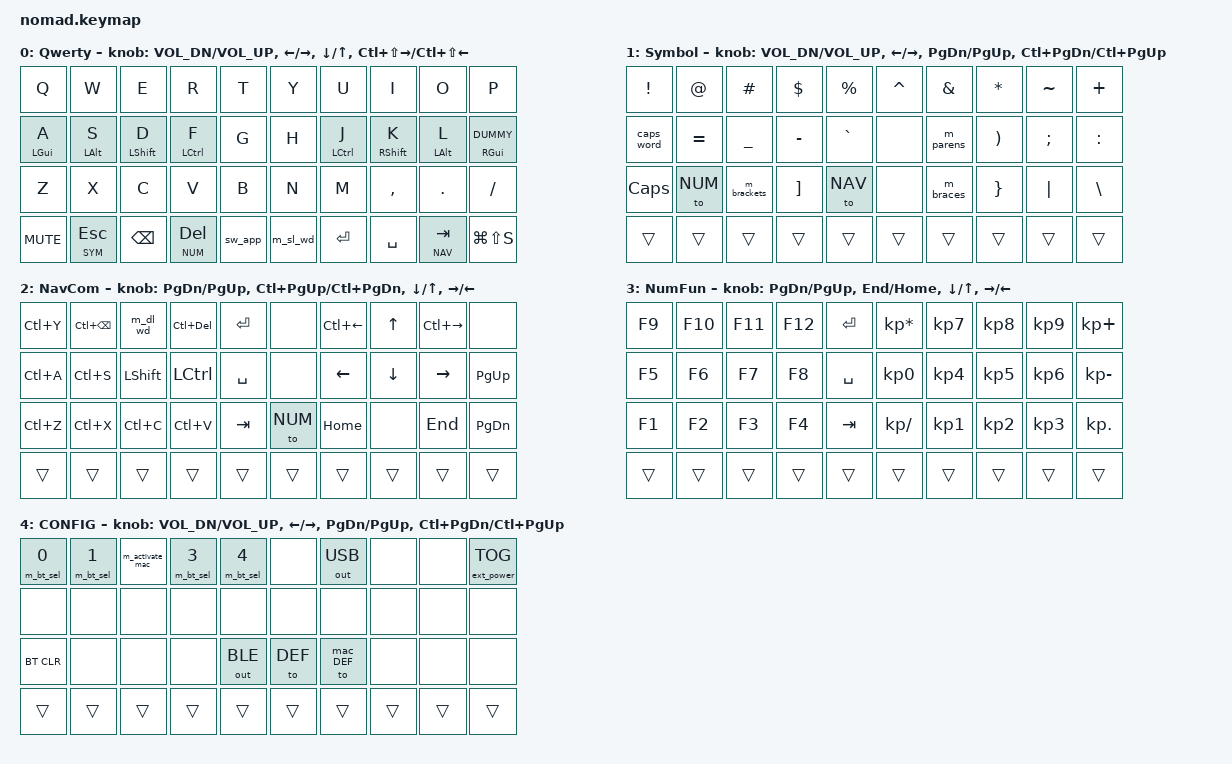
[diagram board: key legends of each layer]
/*
 * Copyright (c) 2020 The ZMK Contributors
 *
 * SPDX-License-Identifier: MIT
 */

#include <behaviors.dtsi>
#include <dt-bindings/zmk/keys.h>
#include <dt-bindings/zmk/bt.h>
#include <dt-bindings/zmk/outputs.h>
#include <dt-bindings/zmk/ext_power.h>

/* Uncomment to enable a custom macro layer
 * Needs the following additional files:
 * "custom_macros.dtsi" to define the macro behaviours
 * "custom_macros_keymap.dtsi" to bind them
 */
#define ENABLE_CUSTOM_MACROS

#define DEF         0   // The default QWERTY layer
#define SYM         1   // Layer for symbols
#define NAV         2   // Layer for navigation
#define mac_DEF     3   // The default macOS QWERTY layer
#define mac_SYM     4   // Layer for symbols
#define mac_NAV     5   // Layer for navigation
#define NUM         6   // Layer for numbers and function keys
#define CON         7   // Configuration layer

// Define only if custom macros are enabled
#ifdef ENABLE_CUSTOM_MACROS
  #define MACRO     8   // Custom macro layer
#endif

// defining a dummy key code for the double quotes macro
#define DUMMY   9


/*
 * Including macros and combos
 */
#include "macros.dtsi"
#include "combos.dtsi"
#include "macOS_combos.dtsi"


/*
 * Defining the CON layer to be activated only if the 
 * SYM and NAV layers are activated
 */
/ {
    conditional_layers {
        compatible = "zmk,conditional-layers";
        
        config_layer {
          if-layers = <SYM NAV>;
          then-layer = <CON>;
        };
        
        // Get to config layer from macOS layers
        macOS_config_layer {
          if-layers = <mac_SYM mac_NAV>;
          then-layer = <CON>;
        };  

// Define only if custom macros are enabled through config
#ifdef ENABLE_CUSTOM_MACROS
        custom_macro_layer {
          if-layers = <NUM NAV>;
          then-layer = <MACRO>;
        };
        
        // Get to macro layer from macOS layers
        macOS_custom_macro_layer {
          if-layers = <NUM mac_NAV>;
          then-layer = <MACRO>;
        };
#endif

    };
  };


/ {
    behaviors {
    
      // Home row mods behaviour for non-shift mods
      hm: homerow_mods {
        compatible = "zmk,behavior-hold-tap";
        label = "HOMEROW_MODS";
        #binding-cells = <2>;
        tapping-term-ms = <350>;
        quick-tap-ms = <125>;
        flavor = "tap-preferred";
        bindings = <&kp>, <&kp>;
      };
      
      /*
       * Special implementation for home row mod to
       * accomodate the double quotes macro. Calls the dqr
       * behavior when tapped, which in turn calls the
       * double quotes macro `m_dquotes` only if the shift
       * key was held.
       */
      dq_hm: double_quotes_balanced_homerow_mod {
        compatible = "zmk,behavior-hold-tap";
        label = "DQ_HOMEROW_MOD";
        #binding-cells = <2>;
        tapping-term-ms = <350>;
        quick-tap-ms = <125>;
        flavor = "tap-preferred";
        bindings = <&kp>, <&dqr>;
      };

    
      /* 
       * Home row mods behaviour for SHIFT keys with lower
       * tapping term
       */
      shm: shift_homerow_mods {
        compatible = "zmk,behavior-hold-tap";
        label = "SHIFT_HOMEROW_MODS";
        #binding-cells = <2>;
        tapping-term-ms = <200>;
        quick-tap-ms = <125>;
        flavor = "tap-preferred";
        bindings = <&kp>, <&kp>;
      };
      
      /*
       * Morphing behaviour for single quotes to call the  
       * double quotes macro when used with LSHFT or RSHFT
       */
      dqr: dquotes_resolve {
        compatible = "zmk,behavior-mod-morph";
        label = "DOUBLE_QUOTES_RESOLVE";
        #binding-cells = <0>;
        bindings = <&kp SQT>, <&m_dquotes>;
        mods = <(MOD_LSFT|MOD_RSFT)>;
      };
      
      /*
       * Morphing behaviour for entering or exiting the app-
       * switcher space, bound to the left thumb encoder
       * switch. Will open the app switcher space or close
       * it if already open, activating the highlighted
       * app - which can be selected using the scroll.
       */
      sw_app: switch_app {
        compatible = "zmk,behavior-mod-morph";
        label = "SWITCH_APP";
        #binding-cells = <0>;
        bindings
          = <&m_enter_app_switch>
          , <&m_exit_app_switch>
          ;
        mods = <(MOD_LALT)>;
      };
    };
    
    keymap {
      compatible = "zmk,keymap";

      default_layer {
        label = "Qwerty";
      // ------------------------------------------------------------------
      // |  Q  |  W  |  E  |  R  |  T  |   |  Y  |  U   |  I  |  O  |  P  |
      // |  A  |  S  |  D  |  F  |  G  |   |  H  |  J   |  K  |  L  |  '  |
      // |  Z  |  X  |  C  |  V  |  B  |   |  N  |  M   |  ,  |  .  |  /  |
      // | MUTE| ESC | BKSP| DEL |SWAPP|   |SLWRD| ENT  | SPC | TAB |PRSCR|
        bindings = <
          &kp Q         &kp W         &kp E           &kp R           &kp T         &kp Y       &kp U           &kp I           &kp O         &kp P
          &hm LGUI A    &hm LALT S    &shm LSHIFT D   &hm LCTRL F     &kp G         &kp H       &hm LCTRL J     &shm RSHIFT K   &hm LALT L    &dq_hm RGUI DUMMY
          &kp Z         &kp X         &kp C           &kp V           &kp B         &kp N       &kp M           &kp COMMA       &kp DOT       &kp FSLH
          &kp C_MUTE    &lt SYM ESC   &kp BSPC        &lt NUM DEL     &sw_app       &m_sl_wd    &kp RET         &kp SPACE       &lt NAV TAB   &kp LG(LS(S))
        >;
                        
        sensor-bindings = <&inc_dec_kp C_VOL_DN C_VOL_UP &inc_dec_kp LEFT RIGHT &inc_dec_kp DOWN UP &inc_dec_kp LC(LS(RIGHT)) LC(LS(LEFT))>; 
      };

      symbol_layer {
        label = "Symbol";
      // -----------------------------------------------------------------
      // |  !  |  @  |  #  |  $  |  %  |   |  ^  |  &  |  *  |  ~  |  +  |
      // |CWORD|  =  |  _  |  -  |  `  |   |     |  (  |  )  |  ;  |  :  |
      // | CAPS| NUM |  [  |  ]  | NAV |   |     |  {  |  }  |  |  |  \  |
      // |     |     |     |     |     |   |     |     |     |     |     |
        bindings = <
          &kp EXCL    &kp AT    &kp HASH    &kp DLLR    &kp PRCNT       &kp CARET   &kp AMPS    &kp STAR    &kp TILDE   &kp PLUS 
          &caps_word  &kp EQUAL &kp UNDER   &kp MINUS   &kp GRAVE       &none       &m_parens   &kp RPAR    &kp SEMI    &kp COLON
          &kp CAPS    &to NUM   &m_brackets &kp RBKT    &to NAV         &none       &m_braces   &kp RBRC    &kp PIPE    &kp BSLH
          &trans      &trans    &trans      &trans      &trans          &trans      &trans      &trans      &trans      &trans
        >;
                        
        sensor-bindings = <&inc_dec_kp C_VOL_DN C_VOL_UP &inc_dec_kp LEFT RIGHT &inc_dec_kp PG_DN PG_UP &inc_dec_kp LC(PG_DN) LC(PG_UP)>;
      };
                
      navigation_layer {
        label = "NavCom";
      // -----------------------------------------------------------------
      // | REDO| BSWd|DLCWd| DLWd| ENT |   |     | P.Wd|  UP | N.Wd|     |
      // | ALL |SAVE |LSHFT| CTRL| SPC |   |     | LFT | DWN | RGT |PG UP|
      // | UNDO| CUT | CPY | PST | TAB |   | NUM | HOME|     | END |PG DN|
      // |     |     |     |     |     |   |     |     |     |     |     |
        bindings = <
          &kp LC(Y)   &kp LC(BSPC)  &m_dl_wd    &kp LC(DEL)   &kp RET       &none     &kp LC(LEFT)    &kp UP      &kp LC(RIGHT)   &none
          &kp LC(A)   &kp LC(S)     &kp LSHIFT  &kp LCTRL     &kp SPACE     &none     &kp LEFT        &kp DOWN    &kp RIGHT       &kp PG_UP
          &kp LC(Z)   &kp LC(X)     &kp LC(C)   &kp LC(V)     &kp TAB       &to NUM   &kp HOME        &none       &kp END         &kp PG_DN
          &trans      &trans        &trans      &trans        &trans        &trans    &trans          &trans      &trans          &trans
        >;
                        
        sensor-bindings = <&inc_dec_kp PG_DN PG_UP &inc_dec_kp LC(PG_UP) LC(PG_DN) &inc_dec_kp DOWN UP &inc_dec_kp RIGHT LEFT>;
      };
      
      // Including the MacOS keymap
      #include "macOS_keymap.dtsi"
                
      numfun_layer {
        label = "NumFun";
      // -----------------------------------------------------------------
      // |  F9 | F10 | F11 | F12 | ENT |   |  *  |  7  |  8  |  9  |  +  |
      // |  F5 |  F6 |  F7 |  F8 | SPC |   |  0  |  4  |  5  |  6  |  -  |
      // |  F1 |  F2 |  F3 |  F4 | TAB |   |  /  |  1  |  2  |  3  |  .  |
      // |     |     |     |     |     |   |     |     |     |     |     |
        bindings = < 
          &kp F9    &kp F10   &kp F11   &kp F12   &kp RET           &kp KP_MULTIPLY   &kp KP_N7   &kp KP_N8   &kp KP_N9   &kp KP_PLUS
          &kp F5    &kp F6    &kp F7    &kp F8    &kp SPACE         &kp KP_N0         &kp KP_N4   &kp KP_N5   &kp KP_N6   &kp KP_MINUS
          &kp F1    &kp F2    &kp F3    &kp F4    &kp TAB           &kp KP_DIVIDE     &kp KP_N1   &kp KP_N2   &kp KP_N3   &kp KP_DOT
          &trans    &trans    &trans    &trans    &trans            &trans            &trans      &trans      &trans      &trans
        >;
                        
        sensor-bindings = <&inc_dec_kp PG_DN PG_UP &inc_dec_kp END HOME &inc_dec_kp DOWN UP &inc_dec_kp RIGHT LEFT>;
      };
                
      config_layer {
        label = "CONFIG";
      // -----------------------------------------------------------------
      // | BT1 | BT2 | BT3 | BT4 | BT5 |   |     |O USB|     |     |E.POW|
      // |     |     |     |     |     |   |     |     |     |     |     |
      // |BTCLR|     |     |     |O BLE|   | WIN | MAC |     |     |     |
      // |     |     |     |     |     |   |     |     |     |     |     |
        bindings = <
          &m_bt_sel 0     &m_bt_sel 1     &m_activate_mac   &m_bt_sel 3     &m_bt_sel 4       &none     &out OUT_USB  &none     &none     &ext_power EP_TOG
          &none           &none           &none             &none           &none             &none     &none         &none     &none     &none
          &bt BT_CLR      &none           &none             &none           &out OUT_BLE      &to DEF   &to mac_DEF   &none     &none     &none
          &trans          &trans          &trans            &trans          &trans            &trans    &trans        &trans    &trans    &trans
        >;
                        
        sensor-bindings = <&inc_dec_kp C_VOL_DN C_VOL_UP &inc_dec_kp LEFT RIGHT &inc_dec_kp PG_DN PG_UP &inc_dec_kp LC(PG_DN) LC(PG_UP)>;
      };
      
// Define only if custom macros are enabled through config
#ifdef ENABLE_CUSTOM_MACROS
      #include "custom_macros_keymap.dtsi"
#endif

    };
  };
